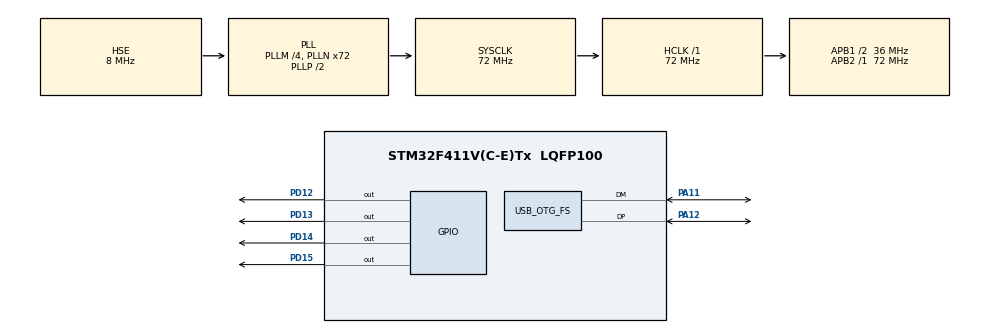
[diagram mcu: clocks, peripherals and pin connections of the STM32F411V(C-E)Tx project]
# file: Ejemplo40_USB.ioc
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Mcu.Family=STM32F4
Mcu.Name=STM32F411V(C-E)Tx
Mcu.Package=LQFP100
NVIC.OTG_FS_IRQn=true\:0\:0\:false\:false\:true\:false\:true\:true
NVIC.PriorityGroup=NVIC_PRIORITYGROUP_4
PA11.Mode=Device_Only
PA11.Signal=USB_OTG_FS_DM
PA12.Mode=Device_Only
PA12.Signal=USB_OTG_FS_DP
PA13.Mode=Serial_Wire
PA13.Signal=SYS_JTMS-SWDIO
PA14.Mode=Serial_Wire
PA14.Signal=SYS_JTCK-SWCLK
PD12.Signal=GPIO_Output
PD13.Signal=GPIO_Output
PD14.Signal=GPIO_Output
PD15.Signal=GPIO_Output
PH0\ -\ OSC_IN.Mode=HSE-External-Oscillator
PH0\ -\ OSC_IN.Signal=RCC_OSC_IN
PH1\ -\ OSC_OUT.Mode=HSE-External-Oscillator
PH1\ -\ OSC_OUT.Signal=RCC_OSC_OUT
ProjectManager.HeapSize=0x200
ProjectManager.StackSize=0x400
ProjectManager.TargetToolchain=STM32CubeIDE
RCC.48MHZClocksFreq_Value=48000000
RCC.AHBFreq_Value=72000000
RCC.APB1CLKDivider=RCC_HCLK_DIV2
RCC.APB1Freq_Value=36000000
RCC.APB1TimFreq_Value=72000000
RCC.APB2Freq_Value=72000000
RCC.APB2TimFreq_Value=72000000
RCC.CortexFreq_Value=72000000
RCC.HCLKFreq_Value=72000000
RCC.HSE_VALUE=8000000
RCC.HSI_VALUE=16000000
RCC.LSE_VALUE=32768
RCC.PLLM=4
RCC.PLLN=72
RCC.PLLQ=3
RCC.SYSCLKFreq_VALUE=72000000
RCC.SYSCLKSource=RCC_SYSCLKSOURCE_PLLCLK
RCC.VCOOutputFreq_Value=144000000
USB_DEVICE.CLASS_NAME_FS=CDC
USB_DEVICE.PRODUCT_STRING_CDC_FS=STM32 ComPort
USB_DEVICE.USBD_DEBUG_LEVEL=0
USB_DEVICE.VirtualMode=Cdc
USB_DEVICE.VirtualModeFS=Cdc_FS
USB_OTG_FS.VirtualMode=Device_Only
VP_USB_DEVICE_VS_USB_DEVICE_CDC_FS.Mode=CDC_FS
board=custom

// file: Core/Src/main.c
/* USER CODE BEGIN Header */
/**
  ******************************************************************************
  * @file           : main.c
  * @brief          : Main program body
  ******************************************************************************
  * @attention
  *
  * Copyright (c) 2024 STMicroelectronics.
  * All rights reserved.
  *
  * This software is licensed under terms that can be found in the LICENSE file
  * in the root directory of this software component.
  * If no LICENSE file comes with this software, it is provided AS-IS.
  *
  ******************************************************************************
  */
/* USER CODE END Header */
#include "main.h"
#include "usb_device.h"

/* USER CODE BEGIN Includes */
#include "usbd_cdc_if.h"
#include "string.h"
/* USER CODE END Includes */

void SystemClock_Config(void);
static void MX_GPIO_Init(void);

/* USER CODE BEGIN 0 */
uint8_t *buffer = "Hola Mundo desde USB\n\r";
uint8_t rx_buffer[40];
/* USER CODE END 0 */

int main(void)
{

  /* MCU Configuration--------------------------------------------------------*/

  /* Reset of all peripherals, Initializes the Flash interface and the Systick. */
  HAL_Init();

  /* Configure the system clock */
  SystemClock_Config();

  /* Initialize all configured peripherals */
  MX_GPIO_Init();
  MX_USB_DEVICE_Init();

  /* Infinite loop */
  /* USER CODE BEGIN WHILE */
  while (1)
  {
	  CDC_Transmit_FS(buffer, strlen(buffer));
	  HAL_Delay(500);

	  if (rx_buffer[0] == '1') {
		HAL_GPIO_WritePin(GPIOD, GPIO_PIN_15, 1);
	}else{
		HAL_GPIO_WritePin(GPIOD, GPIO_PIN_15, 0);
	}
	  if (rx_buffer[1] == '1') {
		  HAL_GPIO_WritePin(GPIOD, GPIO_PIN_14, 1);
	}else{
		HAL_GPIO_WritePin(GPIOD, GPIO_PIN_14, 0);
	}
	  if (rx_buffer[2] == '1') {
		  HAL_GPIO_WritePin(GPIOD, GPIO_PIN_13, 1);
	}else{
		HAL_GPIO_WritePin(GPIOD, GPIO_PIN_13, 0);
	}
	  if (rx_buffer[3] == '1') {
		  HAL_GPIO_WritePin(GPIOD, GPIO_PIN_12, 1);
	}else{
		HAL_GPIO_WritePin(GPIOD, GPIO_PIN_12, 0);
	}

    /* USER CODE END WHILE */

  }
}

void SystemClock_Config(void)
{
  RCC_OscInitTypeDef RCC_OscInitStruct = {0};
  RCC_ClkInitTypeDef RCC_ClkInitStruct = {0};

  /** Configure the main internal regulator output voltage
  */
  __HAL_RCC_PWR_CLK_ENABLE();
  __HAL_PWR_VOLTAGESCALING_CONFIG(PWR_REGULATOR_VOLTAGE_SCALE1);

  /** Initializes the RCC Oscillators according to the specified parameters
  * in the RCC_OscInitTypeDef structure.
  */
  RCC_OscInitStruct.OscillatorType = RCC_OSCILLATORTYPE_HSE;
  RCC_OscInitStruct.HSEState = RCC_HSE_ON;
  RCC_OscInitStruct.PLL.PLLState = RCC_PLL_ON;
  RCC_OscInitStruct.PLL.PLLSource = RCC_PLLSOURCE_HSE;
  RCC_OscInitStruct.PLL.PLLM = 4;
  RCC_OscInitStruct.PLL.PLLN = 72;
  RCC_OscInitStruct.PLL.PLLP = RCC_PLLP_DIV2;
  RCC_OscInitStruct.PLL.PLLQ = 3;
  if (HAL_RCC_OscConfig(&RCC_OscInitStruct) != HAL_OK)
  {
    Error_Handler();
  }

  /** Initializes the CPU, AHB and APB buses clocks
  */
  RCC_ClkInitStruct.ClockType = RCC_CLOCKTYPE_HCLK|RCC_CLOCKTYPE_SYSCLK
                              |RCC_CLOCKTYPE_PCLK1|RCC_CLOCKTYPE_PCLK2;
  RCC_ClkInitStruct.SYSCLKSource = RCC_SYSCLKSOURCE_PLLCLK;
  RCC_ClkInitStruct.AHBCLKDivider = RCC_SYSCLK_DIV1;
  RCC_ClkInitStruct.APB1CLKDivider = RCC_HCLK_DIV2;
  RCC_ClkInitStruct.APB2CLKDivider = RCC_HCLK_DIV1;

  if (HAL_RCC_ClockConfig(&RCC_ClkInitStruct, FLASH_LATENCY_2) != HAL_OK)
  {
    Error_Handler();
  }
}

static void MX_GPIO_Init(void)
{
  GPIO_InitTypeDef GPIO_InitStruct = {0};

  /* GPIO Ports Clock Enable */
  __HAL_RCC_GPIOH_CLK_ENABLE();
  __HAL_RCC_GPIOD_CLK_ENABLE();
  __HAL_RCC_GPIOA_CLK_ENABLE();

  /*Configure GPIO pin Output Level */
  HAL_GPIO_WritePin(GPIOD, GPIO_PIN_12|GPIO_PIN_13|GPIO_PIN_14|GPIO_PIN_15, GPIO_PIN_RESET);

  /*Configure GPIO pins : PD12 PD13 PD14 PD15 */
  GPIO_InitStruct.Pin = GPIO_PIN_12|GPIO_PIN_13|GPIO_PIN_14|GPIO_PIN_15;
  GPIO_InitStruct.Mode = GPIO_MODE_OUTPUT_PP;
  GPIO_InitStruct.Pull = GPIO_NOPULL;
  GPIO_InitStruct.Speed = GPIO_SPEED_FREQ_LOW;
  HAL_GPIO_Init(GPIOD, &GPIO_InitStruct);

}

void Error_Handler(void)
{
  __disable_irq();
  while (1)
  {
  }
}
